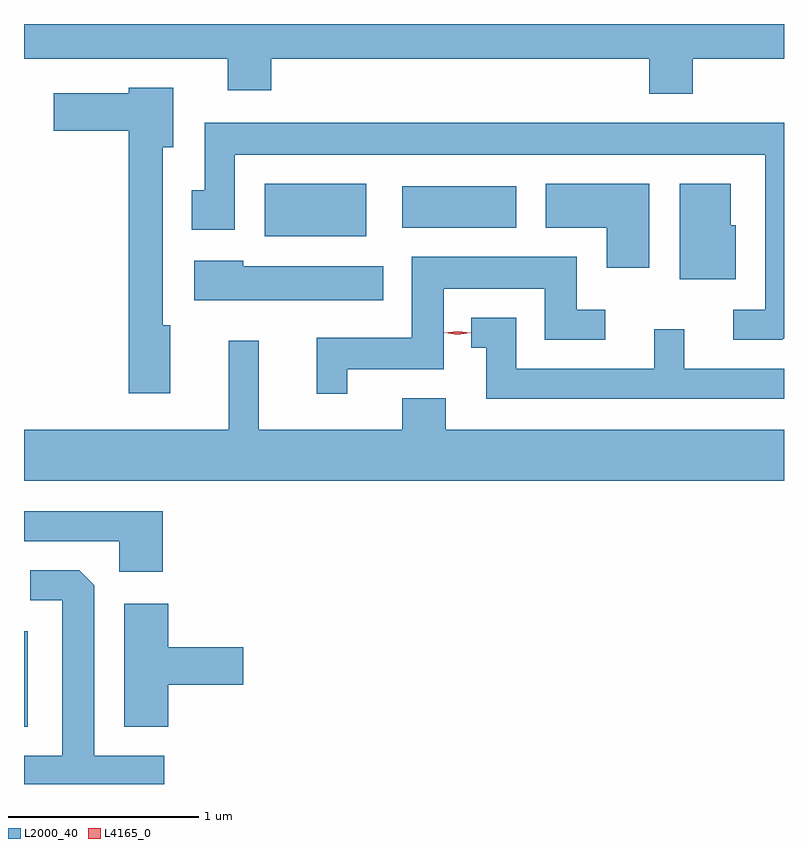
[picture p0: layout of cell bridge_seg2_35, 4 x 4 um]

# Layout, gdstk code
import gdstk
lib = gdstk.Library(unit=1e-6, precision=1e-09)
def R(c, l, rs):  # rectangles x0, y0, x1, y1
    for r in rs: c.add(gdstk.rectangle(r[:2], r[2:], *l))
def P(c, l, *ps):  # polygons
    for p in ps: c.add(gdstk.Polygon(p, *l))
L2000_40 = (2000, 40)
L4165_0 = (4165, 0)

bridge_seg2_35 = lib.new_cell('bridge_seg2_35')
R(bridge_seg2_35, L2000_40, [(1408.729,1051.461,1408.749,1051.964), (1409.996,1054.041,1410.529,1054.319), (1410.721,1054.086,1411.319,1054.304)])
P(bridge_seg2_35, L2000_40, [(1412.249,1054.976),(1412.729,1054.976),(1412.729,1055.159),(1408.729,1055.159),(1408.729,1054.976),(1409.801,1054.976),(1409.801,1054.811),(1410.029,1054.811),(1410.029,1054.976),(1412.021,1054.976),(1412.021,1054.791),(1412.249,1054.791)],
  [(1409.499,1053.574),(1409.459,1053.574),(1409.459,1054.511),(1409.514,1054.511),(1409.514,1054.824),(1409.281,1054.824),(1409.281,1054.794),(1408.886,1054.794),(1408.886,1054.596),(1409.281,1054.596),(1409.281,1053.216),(1409.499,1053.216)],
  [(1412.729,1053.506),(1412.729,1054.639),(1409.681,1054.639),(1409.681,1054.284),(1409.611,1054.284),(1409.611,1054.076),(1409.839,1054.076),(1409.839,1054.471),(1412.631,1054.471),(1412.631,1053.654),(1412.463,1053.654),(1412.463,1053.496),(1412.719,1053.496)],
  [(1412.474,1054.099),(1412.449,1054.099),(1412.449,1054.319),(1412.181,1054.319),(1412.181,1053.816),(1412.474,1053.816)],
  [(1412.019,1054.319),(1411.476,1054.319),(1411.476,1054.086),(1411.796,1054.086),(1411.796,1053.876),(1412.019,1053.876)],
  [(1410.429,1053.341),(1410.939,1053.341),(1410.939,1053.766),(1411.471,1053.766),(1411.471,1053.496),(1411.788,1053.496),(1411.788,1053.654),(1411.639,1053.654),(1411.639,1053.934),(1410.771,1053.934),(1410.771,1053.509),(1410.271,1053.509),(1410.271,1053.213),(1410.429,1053.213)],
  [(1410.619,1053.884),(1409.884,1053.884),(1409.884,1053.914),(1409.626,1053.914),(1409.626,1053.706),(1410.619,1053.706)],
  [(1412.729,1053.344),(1412.204,1053.344),(1412.204,1053.553),(1412.046,1053.553),(1412.046,1053.344),(1411.319,1053.344),(1411.319,1053.614),(1411.083,1053.614),(1411.083,1053.456),(1411.161,1053.456),(1411.161,1053.186),(1412.729,1053.186)],
  [(1412.729,1053.024),(1410.949,1053.024),(1410.949,1053.189),(1410.721,1053.189),(1410.721,1053.024),(1409.964,1053.024),(1409.964,1053.493),(1409.806,1053.493),(1409.806,1053.024),(1408.729,1053.024),(1408.729,1052.756),(1412.729,1052.756)],
  [(1409.459,1052.594),(1408.729,1052.594),(1408.729,1052.436),(1409.231,1052.436),(1409.231,1052.276),(1409.459,1052.276)],
  [(1409.468,1051.309),(1409.099,1051.309),(1409.099,1052.204),(1409.019,1052.284),(1408.763,1052.284),(1408.763,1052.126),(1408.931,1052.126),(1408.931,1051.309),(1408.729,1051.309),(1408.729,1051.159),(1409.468,1051.159)],
  [(1409.489,1051.681),(1409.884,1051.681),(1409.884,1051.879),(1409.489,1051.879),(1409.489,1052.109),(1409.256,1052.109),(1409.256,1051.461),(1409.489,1051.461)])
P(bridge_seg2_35, L4165_0, [(1411.012,1053.524),(1410.942,1053.533),(1410.942,1053.534),(1410.942,1053.534),(1411.012,1053.543),(1411.081,1053.534),(1411.081,1053.534),(1411.081,1053.533)])

lib.write_gds('bridge_seg2_35.gds')
